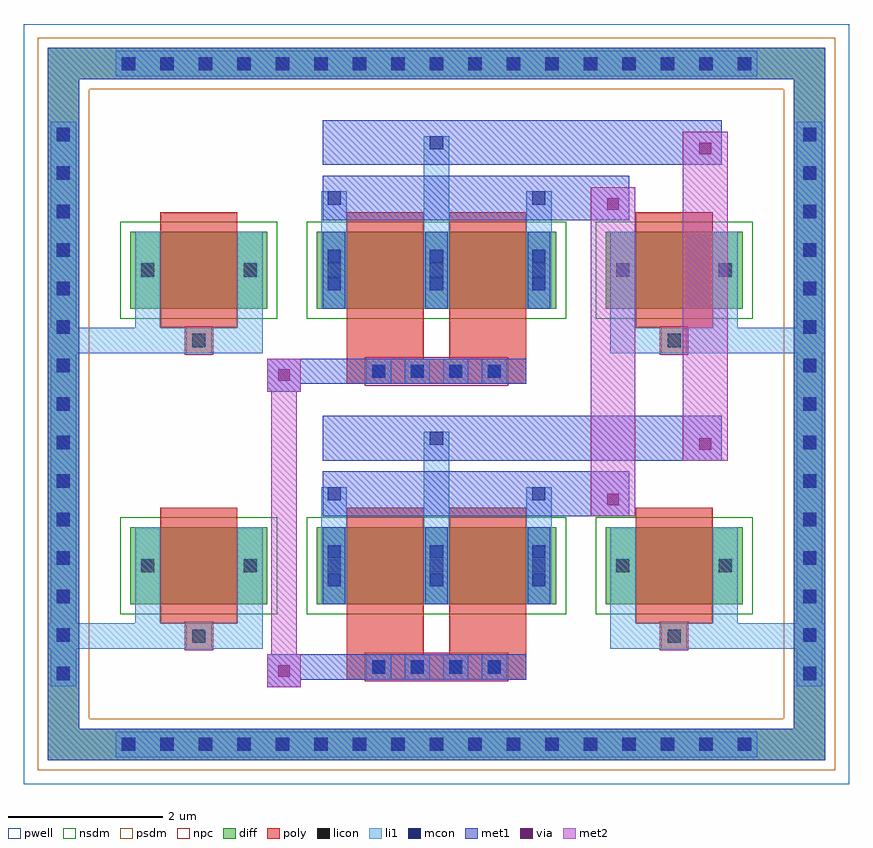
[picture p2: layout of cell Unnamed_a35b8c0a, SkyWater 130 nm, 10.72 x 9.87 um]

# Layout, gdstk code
import gdstk
lib = gdstk.Library(unit=1e-6, precision=5e-09)
def R(c, l, rs):  # rectangles x0, y0, x1, y1
    for r in rs: c.add(gdstk.rectangle(r[:2], r[2:], *l))
def A(c, l, x, y, w, h, nx, ny, dx, dy):  # array of equal rectangles
    R(c, l, [(x+i*dx, y+j*dy, x+i*dx+w, y+j*dy+h) for i in range(nx) for j in range(ny)])
def P(c, l, *ps):  # polygons
    for p in ps: c.add(gdstk.Polygon(p, *l))
pwell = (64, 44)
diff = (65, 20)
poly = (66, 20)
licon = (66, 44)
li1 = (67, 20)
mcon = (67, 44)
met1 = (68, 20)
via = (68, 44)
met2 = (69, 20)
nsdm = (93, 44)
psdm = (94, 20)
npc = (95, 20)

unnamed_a35b8c0a = lib.new_cell('Unnamed_a35b8c0a')
R(unnamed_a35b8c0a, pwell, [(-5.36,-4.935,5.36,4.935)])
A(unnamed_a35b8c0a, diff, -4.205, -4.625, 0.41, 0.41, 17, 2, 0.5, 8.84)
A(unnamed_a35b8c0a, diff, -5.05, -3.705, 0.41, 0.41, 1, 15, 0, 0.5)
A(unnamed_a35b8c0a, diff, 4.64, -3.705, 0.41, 0.41, 1, 15, 0, 0.5)
R(unnamed_a35b8c0a, diff, [(-4.205,-4.625,4.205,-4.215), (-5.05,-3.705,-4.64,3.705), (4.64,-3.705,5.05,3.705), (-3.975,-2.6,-2.195,-1.6), (-1.555,-2.6,1.555,-1.6), (2.195,-2.6,3.975,-1.6), (-3.975,1.24,-2.195,2.24), (-1.555,1.24,1.555,2.24), (2.195,1.24,3.975,2.24), (-4.205,4.215,4.205,4.625)])
P(unnamed_a35b8c0a, diff, [(5.05,4.625),(-5.05,4.625),(-5.05,-4.215),(-4.64,-4.215),(-4.64,4.215),(4.64,4.215),(4.64,-4.215),(-4.64,-4.215),(-5.05,-4.215),(-5.05,-4.625),(5.05,-4.625)])
A(unnamed_a35b8c0a, poly, -0.915, -3.58, 0.33, 0.33, 4, 2, 0.5, 3.84)
R(unnamed_a35b8c0a, poly, [(-1.165,-3.58,1.165,-3.25), (-1.165,-3.25,-0.165,-2.85), (0.165,-3.25,1.165,-2.85), (-3.25,-3.18,-2.92,-2.85), (-3.25,-3.18,-2.92,-2.85), (2.92,-3.18,3.25,-2.85), (2.92,-3.18,3.25,-2.85), (-3.585,-2.85,-2.585,-1.35), (-1.165,-2.85,-0.165,-1.35), (0.165,-2.85,1.165,-1.35), (2.585,-2.85,3.585,-1.35), (-1.165,0.26,1.165,0.59), (-1.165,0.59,-0.165,0.99), (0.165,0.59,1.165,0.99), (-3.25,0.66,-2.92,0.99), (-3.25,0.66,-2.92,0.99), (2.92,0.66,3.25,0.99), (2.92,0.66,3.25,0.99), (-3.585,0.99,-2.585,2.49), (-1.165,0.99,-0.165,2.49), (0.165,0.99,1.165,2.49), (2.585,0.99,3.585,2.49)])
A(unnamed_a35b8c0a, licon, -4.085, -4.505, 0.17, 0.17, 17, 2, 0.5, 8.84)
A(unnamed_a35b8c0a, licon, -4.93, -3.585, 0.17, 0.17, 1, 15, 0, 0.5)
A(unnamed_a35b8c0a, licon, 4.76, -3.585, 0.17, 0.17, 1, 15, 0, 0.5)
A(unnamed_a35b8c0a, licon, -0.835, -3.5, 0.17, 0.17, 4, 2, 0.5, 3.84)
A(unnamed_a35b8c0a, licon, -1.415, -2.185, 0.17, 0.17, 3, 2, 1.33, 3.84)
R(unnamed_a35b8c0a, licon, [(-3.17,-3.1,-3,-2.93), (3,-3.1,3.17,-2.93), (-3.835,-2.185,-3.665,-2.015), (-2.505,-2.185,-2.335,-2.015), (2.335,-2.185,2.505,-2.015), (3.665,-2.185,3.835,-2.015), (-3.17,0.74,-3,0.91), (3,0.74,3.17,0.91), (-3.835,1.655,-3.665,1.825), (-2.505,1.655,-2.335,1.825), (2.335,1.655,2.505,1.825), (3.665,1.655,3.835,1.825)])
A(unnamed_a35b8c0a, li1, -4.165, -4.585, 0.33, 0.33, 17, 2, 0.5, 8.84)
A(unnamed_a35b8c0a, li1, -5.01, -3.665, 0.33, 0.33, 1, 15, 0, 0.5)
A(unnamed_a35b8c0a, li1, 4.68, -3.665, 0.33, 0.33, 1, 15, 0, 0.5)
A(unnamed_a35b8c0a, li1, -0.915, -3.58, 0.33, 0.33, 4, 2, 0.5, 3.84)
A(unnamed_a35b8c0a, li1, -1.495, -2.6, 0.33, 1, 3, 2, 1.33, 3.84)
A(unnamed_a35b8c0a, li1, -1.415, -2.365, 0.17, 0.17, 3, 2, 1.33, 0.36)
A(unnamed_a35b8c0a, li1, -1.415, -2.365, 0.17, 0.53, 3, 2, 1.33, 3.84)
A(unnamed_a35b8c0a, li1, -1.495, -2.265, 0.33, 0.33, 3, 2, 1.33, 3.84)
A(unnamed_a35b8c0a, li1, -1.415, 1.475, 0.17, 0.17, 3, 2, 1.33, 0.36)
R(unnamed_a35b8c0a, li1, [(-4.165,-4.585,4.165,-4.255), (-5.01,-3.665,-4.68,3.665), (4.68,-3.665,5.01,3.665), (-5.05,-3.18,-3.25,-2.85), (-3.915,-3.18,-3.25,-2.85), (-3.915,-3.18,-3.585,-2.6), (-3.25,-3.18,-2.92,-2.85), (-2.92,-3.18,-2.255,-2.85), (-2.585,-3.18,-2.255,-2.6), (2.255,-3.18,2.92,-2.85), (2.255,-3.18,2.585,-2.6), (2.92,-3.18,3.25,-2.85), (2.92,-3.18,5.05,-2.85), (3.25,-3.18,3.915,-2.85), (3.585,-3.18,3.915,-2.6), (-3.915,-2.6,-3.585,-1.6), (-2.585,-2.6,-2.255,-1.6), (2.255,-2.6,2.585,-1.6), (3.585,-2.6,3.915,-1.6), (-3.915,-2.265,-3.585,-1.935), (-2.585,-2.265,-2.255,-1.935), (2.255,-2.265,2.585,-1.935), (3.585,-2.265,3.915,-1.935), (-1.495,-1.6,-1.165,-1.08), (-0.165,-1.6,0.165,-0.36), (1.165,-1.6,1.495,-1.08), (-1.415,-1.25,-1.245,-1.08), (1.245,-1.25,1.415,-1.08), (-0.085,-0.53,0.085,-0.36), (-5.05,0.66,-3.25,0.99), (-3.915,0.66,-3.25,0.99), (-3.915,0.66,-3.585,1.24), (-3.25,0.66,-2.92,0.99), (-2.92,0.66,-2.255,0.99), (-2.585,0.66,-2.255,1.24), (2.255,0.66,2.92,0.99), (2.255,0.66,2.585,1.24), (2.92,0.66,3.25,0.99), (2.92,0.66,5.05,0.99), (3.25,0.66,3.915,0.99), (3.585,0.66,3.915,1.24), (-3.915,1.24,-3.585,2.24), (-2.585,1.24,-2.255,2.24), (2.255,1.24,2.585,2.24), (3.585,1.24,3.915,2.24), (-3.915,1.575,-3.585,1.905), (-2.585,1.575,-2.255,1.905), (2.255,1.575,2.585,1.905), (3.585,1.575,3.915,1.905), (-1.495,2.24,-1.165,2.76), (-0.165,2.24,0.165,3.48), (1.165,2.24,1.495,2.76), (-1.415,2.59,-1.245,2.76), (1.245,2.59,1.415,2.76), (-0.085,3.31,0.085,3.48), (-4.165,4.255,4.165,4.585)])
A(unnamed_a35b8c0a, mcon, -4.085, -4.505, 0.17, 0.17, 17, 2, 0.5, 8.84)
A(unnamed_a35b8c0a, mcon, -4.93, -3.585, 0.17, 0.17, 1, 15, 0, 0.5)
A(unnamed_a35b8c0a, mcon, 4.76, -3.585, 0.17, 0.17, 1, 15, 0, 0.5)
A(unnamed_a35b8c0a, mcon, -0.835, -3.5, 0.17, 0.17, 4, 2, 0.5, 3.84)
A(unnamed_a35b8c0a, mcon, -1.415, -2.365, 0.17, 0.17, 3, 2, 1.33, 0.36)
A(unnamed_a35b8c0a, mcon, -1.415, 1.475, 0.17, 0.17, 3, 2, 1.33, 0.36)
R(unnamed_a35b8c0a, mcon, [(-1.415,-1.25,-1.245,-1.08), (1.245,-1.25,1.415,-1.08), (-0.085,-0.53,0.085,-0.36), (-1.415,2.59,-1.245,2.76), (1.245,2.59,1.415,2.76), (-0.085,3.31,0.085,3.48)])
A(unnamed_a35b8c0a, met1, -4.145, -4.565, 0.29, 0.29, 17, 2, 0.5, 8.84)
A(unnamed_a35b8c0a, met1, -4.99, -3.645, 0.29, 0.29, 1, 15, 0, 0.5)
A(unnamed_a35b8c0a, met1, 4.7, -3.645, 0.29, 0.29, 1, 15, 0, 0.5)
A(unnamed_a35b8c0a, met1, -0.895, -3.56, 0.29, 0.29, 4, 2, 0.5, 3.84)
A(unnamed_a35b8c0a, met1, -1.475, -2.6, 0.29, 1, 3, 2, 1.33, 3.84)
A(unnamed_a35b8c0a, met1, -1.475, -2.425, 0.29, 0.29, 3, 2, 1.33, 0.36)
A(unnamed_a35b8c0a, met1, -1.475, 1.415, 0.29, 0.29, 3, 2, 1.33, 0.36)
R(unnamed_a35b8c0a, met1, [(-5.05,-4.625,-4.64,-4.215), (-5.05,-4.625,-4.64,-4.215), (-4.64,-4.625,4.64,-4.215), (4.64,-4.625,5.05,-4.215), (4.64,-4.625,5.05,-4.215), (-5.05,-4.215,-4.64,4.215), (4.64,-4.215,5.05,4.215), (-2.195,-3.68,-1.765,-3.25), (-2.195,-3.58,-1.165,-3.25), (-1.165,-3.58,1.165,-3.25), (-1.475,-1.455,1.475,-0.875), (1.475,-1.455,2.505,-0.875), (2.075,-1.455,2.505,-1.025), (-1.475,-1.31,-1.185,-1.02), (1.185,-1.31,1.475,-1.02), (-1.475,-0.735,1.475,-0.155), (1.475,-0.735,3.705,-0.155), (3.275,-0.735,3.705,-0.305), (-0.145,-0.59,0.145,-0.3), (-2.195,0.16,-1.765,0.59), (-2.195,0.26,-1.165,0.59), (-1.165,0.26,1.165,0.59), (-1.475,2.385,1.475,2.965), (1.475,2.385,2.505,2.965), (2.075,2.385,2.505,2.815), (-1.475,2.53,-1.185,2.82), (1.185,2.53,1.475,2.82), (-1.475,3.105,1.475,3.685), (1.475,3.105,3.705,3.685), (3.275,3.105,3.705,3.535), (-0.145,3.25,0.145,3.54), (-5.05,4.215,-4.64,4.625), (-5.05,4.215,-4.64,4.625), (-4.64,4.215,4.64,4.625), (4.64,4.215,5.05,4.625), (4.64,4.215,5.05,4.625)])
R(unnamed_a35b8c0a, via, [(-2.055,-3.54,-1.905,-3.39), (2.215,-1.315,2.365,-1.165), (3.415,-0.595,3.565,-0.445), (-2.055,0.3,-1.905,0.45), (2.215,2.525,2.365,2.675), (3.415,3.245,3.565,3.395)])
R(unnamed_a35b8c0a, met2, [(-2.195,-3.68,-1.765,-3.25), (-2.145,-3.68,-1.815,0.59), (-1.815,-3.68,-1.765,-3.25), (-2.145,-3.63,-1.815,-3.3), (2,-1.455,2.58,2.815), (2.075,-1.455,2.505,-1.025), (2.505,-1.455,2.58,-1.025), (2.125,-1.405,2.455,-1.075), (3.2,-0.735,3.78,3.535), (3.275,-0.735,3.705,-0.305), (3.705,-0.735,3.78,-0.305), (3.325,-0.685,3.655,-0.355), (-2.195,0.16,-1.765,0.59), (-1.815,0.16,-1.765,0.59), (-2.145,0.21,-1.815,0.54), (2.075,2.385,2.505,2.815), (2.505,2.385,2.58,2.815), (2.125,2.435,2.455,2.765), (3.275,3.105,3.705,3.535), (3.705,3.105,3.78,3.535), (3.325,3.155,3.655,3.485)])
R(unnamed_a35b8c0a, nsdm, [(-4.105,-2.73,-2.065,-1.47), (-1.685,-2.73,1.685,-1.47), (2.065,-2.73,4.105,-1.47), (-4.105,1.11,-2.065,2.37), (-1.685,1.11,1.685,2.37), (2.065,1.11,4.105,2.37)])
P(unnamed_a35b8c0a, psdm, [(5.18,4.755),(-5.18,4.755),(-5.18,-4.085),(-4.51,-4.085),(-4.51,4.085),(4.51,4.085),(4.51,-4.085),(-4.51,-4.085),(-5.18,-4.085),(-5.18,-4.755),(5.18,-4.755)])
A(unnamed_a35b8c0a, npc, -0.935, -3.6, 0.37, 0.37, 4, 2, 0.5, 3.84)
R(unnamed_a35b8c0a, npc, [(-0.935,-3.6,-0.065,-3.23), (-0.935,-3.6,-0.065,-3.23), (-0.435,-3.6,0.435,-3.23), (-0.435,-3.6,0.435,-3.23), (0.065,-3.6,0.935,-3.23), (0.065,-3.6,0.935,-3.23), (-3.27,-3.2,-2.9,-2.83), (2.9,-3.2,3.27,-2.83), (-0.935,0.24,-0.065,0.61), (-0.935,0.24,-0.065,0.61), (-0.435,0.24,0.435,0.61), (-0.435,0.24,0.435,0.61), (0.065,0.24,0.935,0.61), (0.065,0.24,0.935,0.61), (-3.27,0.64,-2.9,1.01), (2.9,0.64,3.27,1.01)])

lib.write_gds('Unnamed_a35b8c0a.gds')
